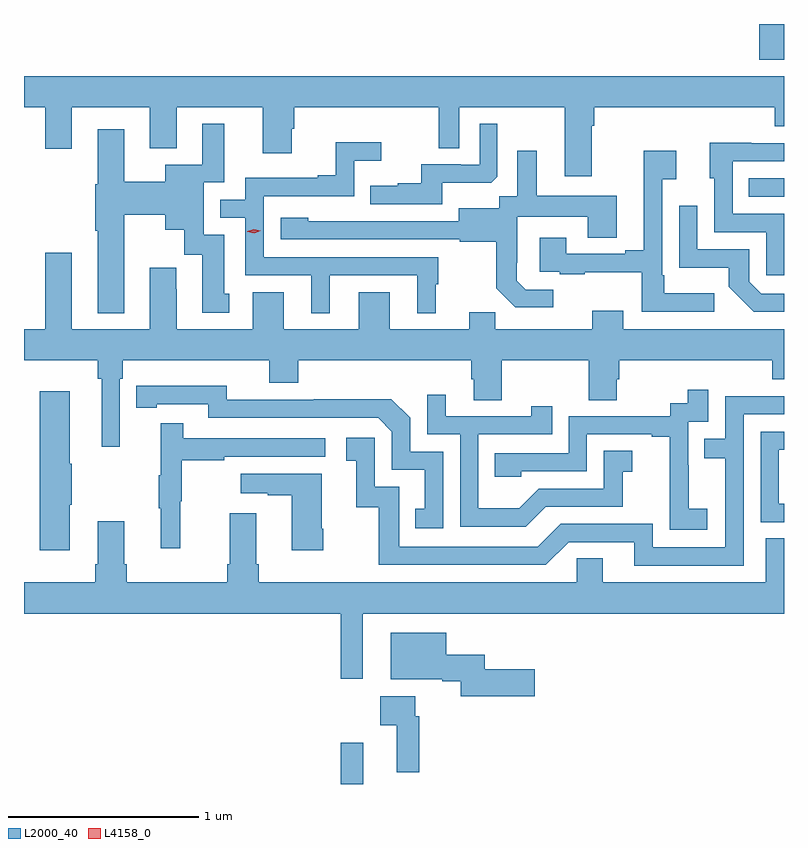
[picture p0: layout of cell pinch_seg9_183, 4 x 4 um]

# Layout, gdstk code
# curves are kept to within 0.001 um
import gdstk
lib = gdstk.Library(unit=1e-6, precision=1e-09)
def R(c, l, rs):  # rectangles x0, y0, x1, y1
    for r in rs: c.add(gdstk.rectangle(r[:2], r[2:], *l))
def P(c, l, *ps):  # polygons
    for p in ps: c.add(gdstk.Polygon(p, *l))
L2000_40 = (2000, 40)
L4158_0 = (4158, 0)

pinch_seg9_183 = lib.new_cell('pinch_seg9_183')
R(pinch_seg9_183, L2000_40, [(838.261,1180.871,838.379,1181.089), (840.409,1183.962,840.594,1184.058), (840.464,1184.682,840.594,1184.871)])
P(pinch_seg9_183, L2000_40, [(839.581,1184.336),(839.594,1184.336),(839.594,1184.432),(840.545,1184.432),(840.545,1184.333),(840.594,1184.333),(840.594,1184.596),(836.594,1184.596),(836.594,1184.432),(836.705,1184.432),(836.705,1184.214),(836.845,1184.214),(836.845,1184.432),(837.257,1184.432),(837.257,1184.216),(837.397,1184.216),(837.397,1184.432),(837.851,1184.432),(837.851,1184.19),(838.003,1184.19),(838.003,1184.319),(838.016,1184.319),(838.016,1184.432),(838.776,1184.432),(838.776,1184.218),(838.884,1184.218),(838.884,1184.432),(839.441,1184.432),(839.441,1184.07),(839.581,1184.07)],
  [(838.795,1184.036),(839.053,1184.036),(839.085,1184.067),(839.085,1184.347),(838.992,1184.347),(838.992,1184.13),(838.892,1184.13),(838.892,1184.133),(838.685,1184.133),(838.685,1184.032),(838.561,1184.032),(838.561,1184.02),(838.417,1184.02),(838.417,1183.923),(838.795,1183.923)],
  [(837.121,1183.868),(837.338,1183.868),(837.338,1183.787),(837.437,1183.787),(837.437,1183.656),(837.533,1183.656),(837.533,1183.35),(837.673,1183.35),(837.673,1183.452),(837.649,1183.452),(837.649,1183.761),(837.54,1183.761),(837.54,1184.037),(837.649,1184.037),(837.649,1184.347),(837.533,1184.347),(837.533,1184.131),(837.338,1184.131),(837.338,1184.04),(837.121,1184.04),(837.121,1184.317),(836.981,1184.317),(836.981,1184.028),(836.969,1184.028),(836.969,1183.784),(836.981,1183.784),(836.981,1183.349),(837.121,1183.349)],
  [(838.204,1183.548),(838.664,1183.548),(838.664,1183.349),(838.762,1183.349),(838.762,1183.5),(838.774,1183.5),(838.774,1183.644),(837.855,1183.644),(837.855,1183.965),(838.332,1183.965),(838.332,1184.15),(838.474,1184.15),(838.474,1184.249),(838.234,1184.249),(838.234,1184.074),(838.139,1184.074),(838.139,1184.061),(837.759,1184.061),(837.759,1183.947),(837.626,1183.947),(837.626,1183.851),(837.759,1183.851),(837.759,1183.548),(838.106,1183.548),(838.106,1183.349),(838.204,1183.349)],
  [(840.594,1183.872),(840.324,1183.872),(840.324,1184.148),(840.594,1184.148),(840.594,1184.244),(840.421,1184.244),(840.421,1184.246),(840.203,1184.246),(840.203,1184.058),(840.228,1184.058),(840.228,1183.776),(840.501,1183.776),(840.501,1183.548),(840.594,1183.548)],
  [(839.38,1183.473),(839.235,1183.473),(839.188,1183.52),(839.188,1183.615),(839.19,1183.615),(839.19,1183.856),(839.561,1183.856),(839.561,1183.747),(839.713,1183.747),(839.713,1183.966),(839.293,1183.966),(839.293,1184.203),(839.189,1184.203),(839.189,1183.964),(839.094,1183.964),(839.094,1183.9),(838.883,1183.9),(838.883,1183.833),(838.089,1183.834),(838.089,1183.852),(837.945,1183.852),(837.945,1183.737),(838.887,1183.737),(838.887,1183.725),(839.079,1183.725),(839.079,1183.479),(839.179,1183.379),(839.38,1183.379)],
  [(840.226,1183.453),(839.965,1183.453),(839.965,1183.549),(839.952,1183.549),(839.952,1184.054),(840.028,1184.054),(840.028,1184.203),(839.855,1184.203),(839.855,1183.681),(839.759,1183.681),(839.759,1183.662),(839.449,1183.662),(839.449,1183.747),(839.309,1183.747),(839.309,1183.566),(839.413,1183.566),(839.413,1183.554),(839.545,1183.554),(839.545,1183.565),(839.844,1183.565),(839.844,1183.356),(840.226,1183.356)],
  [(840.594,1183.452),(840.474,1183.452),(840.411,1183.515),(840.411,1183.686),(840.138,1183.686),(840.138,1183.915),(840.042,1183.915),(840.042,1183.589),(840.304,1183.589),(840.304,1183.487),(840.434,1183.356),(840.594,1183.356)],
  [(836.845,1183.666),(836.705,1183.666),(836.705,1183.264),(836.594,1183.264),(836.594,1183.1),(836.983,1183.1),(836.983,1183.004),(837.002,1183.004),(837.002,1182.645),(837.099,1182.645),(837.099,1183.004),(837.113,1183.004),(837.113,1183.1),(837.884,1183.1),(837.884,1182.983),(838.037,1182.983),(838.037,1183.1),(838.949,1183.1),(838.949,1183.002),(838.961,1183.002),(838.961,1182.892),(839.109,1182.892),(839.109,1183.1),(839.566,1183.1),(839.566,1182.892),(839.713,1182.892),(839.713,1183.002),(839.726,1183.002),(839.726,1183.1),(840.533,1183.1),(840.533,1183.001),(840.594,1183.001),(840.594,1183.264),(839.749,1183.264),(839.749,1183.363),(839.585,1183.363),(839.585,1183.264),(839.075,1183.264),(839.075,1183.355),(838.937,1183.355),(838.937,1183.264),(838.519,1183.264),(838.519,1183.459),(838.355,1183.459),(838.355,1183.264),(837.961,1183.264),(837.961,1183.459),(837.797,1183.459),(837.797,1183.264),(837.397,1183.264),(837.397,1183.475),(837.394,1183.475),(837.394,1183.588),(837.257,1183.588),(837.257,1183.264),(836.845,1183.264)],
  [(838.8,1182.621),(838.626,1182.621),(838.626,1182.798),(838.528,1182.896),(838.12,1182.896),(838.12,1182.894),(837.66,1182.894),(837.66,1182.967),(837.184,1182.966),(837.184,1182.85),(837.292,1182.85),(837.292,1182.87),(837.564,1182.87),(837.564,1182.798),(838.458,1182.798),(838.53,1182.726),(838.53,1182.525),(838.703,1182.525),(838.703,1182.321),(838.654,1182.321),(838.654,1182.216),(838.8,1182.216)],
  [(840.19,1182.319),(840.092,1182.319),(840.092,1182.548),(840.09,1182.548),(840.09,1182.777),(840.195,1182.777),(840.195,1182.946),(840.087,1182.946),(840.087,1182.876),(839.994,1182.876),(839.994,1182.807),(839.46,1182.807),(839.46,1182.612),(839.071,1182.612),(839.071,1182.489),(839.211,1182.489),(839.211,1182.516),(839.556,1182.516),(839.556,1182.711),(839.897,1182.711),(839.897,1182.699),(839.993,1182.699),(839.993,1182.415),(839.992,1182.415),(839.992,1182.209),(840.19,1182.209)],
  [(836.836,1182.34),(836.844,1182.34),(836.844,1182.557),(836.836,1182.557),(836.836,1182.937),(836.678,1182.937),(836.678,1182.102),(836.836,1182.102)],
  [(839.341,1182.33),(839.745,1182.33),(839.745,1182.515),(839.794,1182.515),(839.794,1182.625),(839.646,1182.625),(839.646,1182.426),(839.304,1182.426),(839.2,1182.322),(838.986,1182.322),(838.986,1182.711),(839.375,1182.711),(839.375,1182.859),(839.264,1182.859),(839.264,1182.807),(838.813,1182.807),(838.813,1182.919),(838.716,1182.919),(838.716,1182.711),(838.89,1182.711),(838.89,1182.225),(839.236,1182.225)],
  [(840.381,1182.816),(840.594,1182.816),(840.594,1182.912),(840.285,1182.912),(840.285,1182.687),(840.175,1182.687),(840.175,1182.586),(840.285,1182.586),(840.285,1182.117),(839.904,1182.117),(839.904,1182.24),(839.418,1182.24),(839.298,1182.12),(838.569,1182.12),(838.569,1182.435),(838.44,1182.435),(838.44,1182.694),(838.29,1182.694),(838.29,1182.573),(838.343,1182.573),(838.343,1182.327),(838.461,1182.327),(838.461,1182.024),(839.34,1182.024),(839.46,1182.144),(839.807,1182.144),(839.807,1182.021),(840.381,1182.021)],
  [(837.416,1182.36),(837.424,1182.36),(837.424,1182.574),(837.647,1182.574),(837.647,1182.594),(838.18,1182.594),(838.18,1182.69),(837.431,1182.69),(837.431,1182.769),(837.314,1182.769),(837.314,1182.497),(837.303,1182.497),(837.303,1182.323),(837.314,1182.323),(837.314,1182.111),(837.416,1182.111)],
  [(840.594,1182.345),(840.567,1182.345),(840.567,1182.63),(840.594,1182.63),(840.594,1182.726),(840.471,1182.726),(840.471,1182.249),(840.594,1182.249)],
  [(838.17,1182.214),(838.162,1182.214),(838.162,1182.505),(837.735,1182.505),(837.735,1182.401),(837.878,1182.401),(837.878,1182.391),(838.004,1182.391),(838.004,1182.102),(838.17,1182.102)],
  [(838.378,1181.768),(840.594,1181.768),(840.594,1182.164),(840.497,1182.164),(840.497,1181.932),(839.641,1181.932),(839.641,1182.059),(839.502,1182.059),(839.502,1181.932),(837.83,1181.932),(837.83,1182.028),(837.817,1182.028),(837.817,1182.295),(837.677,1182.295),(837.677,1182.028),(837.665,1182.028),(837.665,1181.932),(837.134,1181.932),(837.134,1182.028),(837.121,1182.028),(837.121,1182.253),(836.981,1182.253),(836.981,1182.028),(836.969,1182.028),(836.969,1181.932),(836.594,1181.932),(836.594,1181.768),(838.261,1181.768),(838.261,1181.424),(838.378,1181.424)],
  [(839.281,1181.475),(839.02,1181.475),(839.02,1181.551),(838.816,1181.551),(838.816,1181.668),(838.523,1181.668),(838.523,1181.423),(838.796,1181.423),(838.796,1181.411),(838.892,1181.411),(838.892,1181.333),(839.281,1181.333)],
  [(838.673,1181.228),(838.653,1181.228),(838.653,1181.332),(838.47,1181.332),(838.47,1181.18),(838.556,1181.18),(838.556,1180.932),(838.673,1180.932)])
P(pinch_seg9_183, L4158_0, [(837.806,1183.771),(837.77,1183.778),(837.77,1183.778),(837.77,1183.779),(837.804,1183.791),(837.839,1183.783),(837.84,1183.783),(837.839,1183.783)])

lib.write_gds('pinch_seg9_183.gds')
